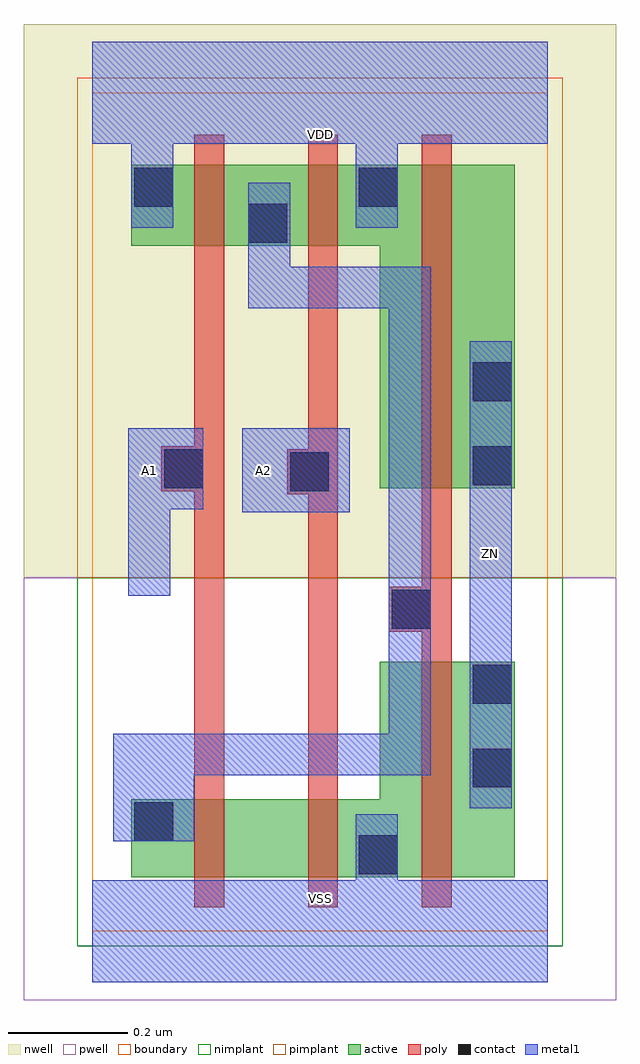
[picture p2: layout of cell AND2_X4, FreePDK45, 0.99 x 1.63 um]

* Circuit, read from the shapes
.subckt AND2_X4 A1 A2 VDD VSS ZN
M1 n1 A1 n2 VSUBS nfet w=0.13u l=0.05u
M2 VSS A2 n1 VSUBS nfet w=0.13u l=0.05u
M3 ZN n2 VSS VSUBS nfet w=0.36u l=0.05u
M4 n2 A1 VDD n3 pfet w=0.135u l=0.05u
M5 VDD A2 n2 n3 pfet w=0.135u l=0.05u
M6 ZN n2 VDD n3 pfet w=0.54u l=0.05u
.ends

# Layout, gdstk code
import gdstk
lib = gdstk.Library(unit=1e-6, precision=1e-10)
def R(c, l, rs):  # rectangles x0, y0, x1, y1
    for r in rs: c.add(gdstk.rectangle(r[:2], r[2:], *l))
def P(c, l, *ps):  # polygons
    for p in ps: c.add(gdstk.Polygon(p, *l))
active = (1, 0)
pwell = (2, 0)
nwell = (3, 0)
nimplant = (4, 0)
pimplant = (5, 0)
poly = (9, 0)
contact = (10, 0)
metal1 = (11, 0)
boundary = (235, 0)

and2_x4 = lib.new_cell('AND2_X4')
P(and2_x4, active, [(0.065,0.09),(0.705,0.09),(0.705,0.45),(0.48,0.45),(0.48,0.22),(0.065,0.22)],
  [(0.065,1.145),(0.48,1.145),(0.48,0.74),(0.705,0.74),(0.705,1.28),(0.065,1.28)])
R(and2_x4, pwell, [(-0.115,-0.115,0.875,0.59)])
R(and2_x4, nwell, [(-0.115,0.59,0.875,1.515)])
R(and2_x4, nimplant, [(-0.025,-0.025,0.785,0.59)])
R(and2_x4, pimplant, [(-0.025,0.59,0.785,1.425)])
P(and2_x4, poly, [(0.115,0.735),(0.17,0.735),(0.17,0.04),(0.22,0.04),(0.22,1.33),(0.17,1.33),(0.17,0.81),(0.115,0.81)],
  [(0.325,0.73),(0.36,0.73),(0.36,0.04),(0.41,0.04),(0.41,1.33),(0.36,1.33),(0.36,0.805),(0.325,0.805)],
  [(0.495,0.5),(0.55,0.5),(0.55,0.04),(0.6,0.04),(0.6,1.33),(0.55,1.33),(0.55,0.575),(0.495,0.575)])
R(and2_x4, contact, [(0.445,0.095,0.51,0.16), (0.07,0.15,0.135,0.215), (0.635,0.24,0.7,0.305), (0.635,0.38,0.7,0.445), (0.5,0.505,0.565,0.57), (0.33,0.735,0.395,0.8), (0.12,0.74,0.185,0.805), (0.635,0.745,0.7,0.81), (0.635,0.885,0.7,0.95), (0.26,1.15,0.325,1.215), (0.07,1.21,0.135,1.275), (0.445,1.21,0.51,1.275)])
R(and2_x4, metal1, [(0.63,0.205,0.7,0.985), (0.25,0.7,0.43,0.84)])
P(and2_x4, metal1, [(0.06,0.56),(0.13,0.56),(0.13,0.705),(0.185,0.705),(0.185,0.84),(0.06,0.84)],
  [(0.26,1.04),(0.495,1.04),(0.495,0.33),(0.035,0.33),(0.035,0.15),(0.17,0.15),(0.17,0.26),(0.565,0.26),(0.565,1.11),(0.33,1.11),(0.33,1.25),(0.26,1.25)],
  [(0,-0.085),(0.76,-0.085),(0.76,0.085),(0.51,0.085),(0.51,0.195),(0.44,0.195),(0.44,0.085),(0,0.085)],
  [(0,1.315),(0.065,1.315),(0.065,1.175),(0.135,1.175),(0.135,1.315),(0.44,1.315),(0.44,1.175),(0.51,1.175),(0.51,1.315),(0.76,1.315),(0.76,1.485),(0,1.485)])
R(and2_x4, boundary, [(0,0,0.76,1.4)])
and2_x4.add(gdstk.Label('A1', (0.095,0.77), layer=11, texttype=0))
and2_x4.add(gdstk.Label('A2', (0.285,0.77), layer=11, texttype=0))
and2_x4.add(gdstk.Label('VDD', (0.38,1.33), layer=11, texttype=0))
and2_x4.add(gdstk.Label('VSS', (0.38,0.055), layer=11, texttype=0))
and2_x4.add(gdstk.Label('ZN', (0.665,0.63), layer=11, texttype=0))

lib.write_gds('AND2_X4.gds')
